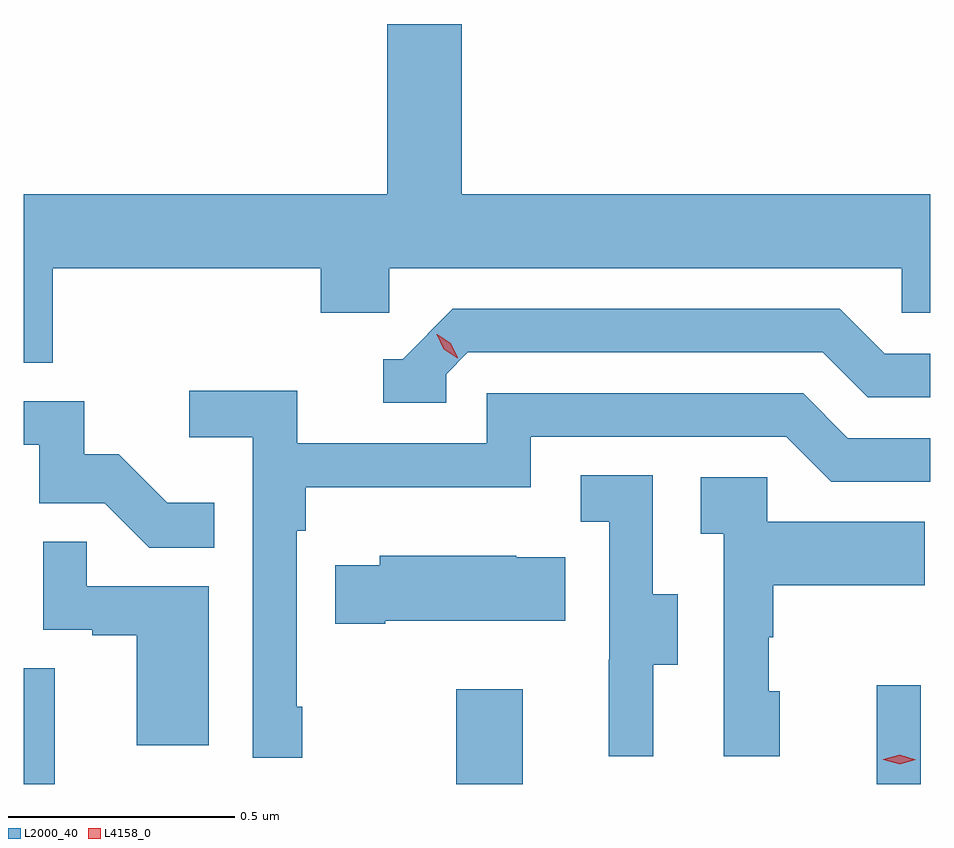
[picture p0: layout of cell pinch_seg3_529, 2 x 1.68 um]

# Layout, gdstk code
import gdstk
lib = gdstk.Library(unit=1e-6, precision=1e-09)
def R(c, l, rs):  # rectangles x0, y0, x1, y1
    for r in rs: c.add(gdstk.rectangle(r[:2], r[2:], *l))
def P(c, l, *ps):  # polygons
    for p in ps: c.add(gdstk.Polygon(p, *l))
L2000_40 = (2000, 40)
L4158_0 = (4158, 0)

pinch_seg3_529 = lib.new_cell('pinch_seg3_529')
R(pinch_seg3_529, L2000_40, [(955.414,678.467,955.483,678.722), (956.368,678.467,956.515,678.676), (957.296,678.467,957.393,678.685)])
P(pinch_seg3_529, L2000_40, [(956.216,679.768),(955.414,679.768),(955.414,679.396),(955.478,679.396),(955.478,679.604),(956.069,679.604),(956.069,679.506),(956.22,679.506),(956.22,679.604),(957.351,679.604),(957.351,679.506),(957.414,679.506),(957.414,679.768),(956.38,679.768),(956.38,680.143),(956.216,680.143)],
  [(956.346,679.371),(956.394,679.419),(957.177,679.419),(957.276,679.32),(957.414,679.32),(957.414,679.416),(957.313,679.416),(957.214,679.515),(956.361,679.515),(956.25,679.404),(956.207,679.404),(956.207,679.308),(956.346,679.308)],
  [(956.029,678.637),(956.016,678.637),(956.016,679.025),(956.036,679.025),(956.036,679.121),(956.532,679.121),(956.532,679.233),(957.096,679.233),(957.195,679.134),(957.414,679.134),(957.414,679.23),(957.232,679.23),(957.133,679.329),(956.436,679.329),(956.436,679.218),(956.018,679.218),(956.018,679.334),(955.779,679.334),(955.779,679.232),(955.92,679.232),(955.92,678.525),(956.029,678.525)],
  [(955.835,679.087),(955.731,679.087),(955.624,679.194),(955.548,679.194),(955.548,679.311),(955.414,679.311),(955.414,679.215),(955.449,679.215),(955.449,679.086),(955.593,679.086),(955.691,678.988),(955.835,678.988)],
  [(956.803,678.73),(956.857,678.73),(956.857,678.885),(956.802,678.885),(956.802,679.148),(956.643,679.148),(956.643,679.045),(956.706,679.045),(956.706,678.741),(956.705,678.741),(956.705,678.528),(956.803,678.528)],
  [(957.082,678.672),(957.057,678.672),(957.057,678.791),(957.067,678.791),(957.067,678.905),(957.401,678.905),(957.401,679.045),(957.054,679.045),(957.054,679.143),(956.907,679.143),(956.907,679.019),(956.958,679.019),(956.958,678.528),(957.082,678.528)],
  [(955.822,678.903),(955.553,678.903),(955.553,679.001),(955.458,679.001),(955.458,678.807),(955.565,678.807),(955.565,678.795),(955.664,678.795),(955.664,678.552),(955.822,678.552)],
  [(956.212,678.827),(956.609,678.827),(956.609,678.967),(956.501,678.967),(956.501,678.97),(956.199,678.97),(956.199,678.949),(956.101,678.949),(956.101,678.82),(956.212,678.82)])
P(pinch_seg3_529, L4158_0, [(957.346,678.511),(957.31,678.521),(957.31,678.522),(957.31,678.522),(957.346,678.531),(957.382,678.521),(957.382,678.521),(957.382,678.52)],
  [(956.371,679.406),(956.341,679.426),(956.325,679.459),(956.325,679.459),(956.326,679.459),(956.356,679.439),(956.371,679.407),(956.371,679.406)])

lib.write_gds('pinch_seg3_529.gds')
